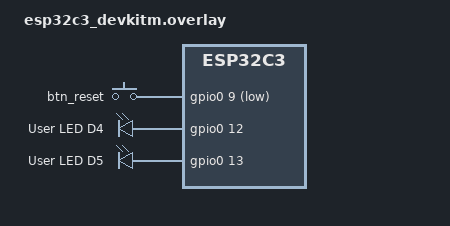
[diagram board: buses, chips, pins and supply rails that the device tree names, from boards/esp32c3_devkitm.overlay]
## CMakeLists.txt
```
cmake_minimum_required(VERSION 3.20.0)

set(ZEPHYR_EXTRA_MODULES ${CMAKE_CURRENT_SOURCE_DIR}/../wolfssl)

if(BOARD MATCHES "esp32")
    list(APPEND EXTRA_CONF_FILE ${CMAKE_CURRENT_SOURCE_DIR}/boards/esp32-common.conf)
endif()

if(BOARD MATCHES "esp32")
    # Patch libnet80211.a at configure time so that our ieee80211_post_hmac_tx()
    # wrapper in esp_wifi_drv.c intercepts all callers.
    string(REGEX MATCH "esp32[a-z0-9]+" _wifi_soc "${BOARD}")
    set(_blob_src
        ${CMAKE_CURRENT_SOURCE_DIR}/../modules/hal/espressif/zephyr/blobs/lib/${_wifi_soc}/libnet80211.a)
    set(_patched_dir ${CMAKE_CURRENT_BINARY_DIR}/patched-blobs)
    set(_patch_script ${CMAKE_CURRENT_SOURCE_DIR}/scripts/patch-net80211-blob.sh)

    if(EXISTS "${_blob_src}")
        execute_process(
            COMMAND sh ${_patch_script} ${_wifi_soc} ${_blob_src} ${_patched_dir}
            RESULT_VARIABLE _patch_result)
        if(NOT _patch_result EQUAL 0)
            message(FATAL_ERROR "Failed to patch ${_blob_src}")
        endif()
    endif()
endif()

find_package(Zephyr REQUIRED HINTS $ENV{ZEPHYR_BASE})
project(vole)

if(BOARD MATCHES "esp32")
    target_link_directories(zephyr_interface BEFORE INTERFACE "${_patched_dir}")
endif()

zephyr_get_include_directories_for_lang(       C includes)
zephyr_get_system_include_directories_for_lang(C system_includes)
zephyr_get_compile_definitions_for_lang(       C definitions)
zephyr_get_compile_options_for_lang(           C options)

if(DEFINED CMAKE_C_COMPILER_TARGET)
    set(target_flag "--target=${CMAKE_C_COMPILER_TARGET}")
endif()

add_library(tomlc17 STATIC ${WEST_TOPDIR}/tomlc17/src/tomlc17.c)
target_compile_options(tomlc17 PRIVATE ${target_flag} ${includes} ${definitions}
    ${options} ${system_includes})
include_directories(${WEST_TOPDIR}/tomlc17/src)

set(app_sources src/main.c src/dtls.c src/crypto.c src/bench.c src/npf.c src/sntp.c
    src/config.c src/status.c src/wifi.c src/aqm.c src/telemetry.c src/wg.c)

if(CONFIG_VOLE_LAN)
    list(APPEND app_sources src/ra.c src/dhcp4.c)
endif()

zephyr_library_include_directories(${WEST_TOPDIR}/wireguard/include)

target_sources(app PRIVATE ${app_sources})
target_compile_options(app PRIVATE -Wall -Wextra)
target_link_libraries(app PUBLIC tomlc17)

zephyr_library_include_directories(${ZEPHYR_BASE}/subsys/net/ip)

if(CONFIG_RISCV)
    set(chacha_S ${CMAKE_CURRENT_BINARY_DIR}/chacha-riscv.S)
    add_custom_command(
        OUTPUT  ${chacha_S}
        COMMAND perl ${WEST_TOPDIR}/cryptogams/riscv/chacha-riscv.pl > ${chacha_S}
        DEPENDS ${WEST_TOPDIR}/cryptogams/riscv/chacha-riscv.pl
        COMMENT "Generating chacha-riscv.S from cryptogams"
    )
    target_sources(app PRIVATE ${chacha_S})
    zephyr_ld_options(-Wl,--wrap=wc_Chacha_Process)
    zephyr_linker_sources(DATA_SECTIONS ldscripts/chacha-riscv-sram.ld)
endif()

zephyr_linker_sources(DATA_SECTIONS ldscripts/sections-tunnel-pool.ld)

if(CONFIG_SOC_SERIES_ESP32S3)
    zephyr_linker_sources(DATA_SECTIONS ldscripts/sections-esp32s3-sram2.ld)
endif()

zephyr_linker_sources(SECTIONS ldscripts/sections-rom.ld)
zephyr_linker_section(
    NAME http_resource_desc_http_service
    KVMA RAM_REGION GROUP RODATA_REGION)

set(gen_dir ${ZEPHYR_BINARY_DIR}/include/generated/)
generate_inc_file_for_target(app www/dist/index.html
    ${gen_dir}/index.html.gz.inc --gzip)
generate_inc_file_for_target(app default.toml ${gen_dir}/default.toml.inc)
```

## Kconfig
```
mainmenu "Vole Tunnel"

config VOLE_LAN
	bool "Enable LAN soft-AP interface (AP+STA router mode)"
	select ESP32_WIFI_AP_STA_MODE
	select NET_IPV6
	select NET_ROUTING

config NET_IF_MAX_IPV4_COUNT
	default 4 if VOLE_LAN
	default 3

config NET_IF_MAX_IPV6_COUNT
	default 4 if VOLE_LAN
	default 3

config NET_IF_MCAST_IPV6_ADDR_COUNT
	default 5 if VOLE_LAN

config VOLE_BENCH
	bool "Run benchmarks at startup"
	select CONFIG_TIMING_FUNCTIONS
	default n

menu "Tunnel"

config DTLS_PKT_COUNT
	int "Packet pool size"
	default 24

endmenu

menu "Active Queue Management"

config CODEL_TARGET_MS
	int "Target sojourn time"
	default 5

config CODEL_INTERVAL_MS
	int "Interval duration"
	default 100

endmenu

source "Kconfig.zephyr"

module = CONFIG
module-str = config
source "subsys/logging/Kconfig.template.log_config"

module = DTLS
module-str = dtls
source "subsys/logging/Kconfig.template.log_config"

module = NPF
module-str = npf
source "subsys/logging/Kconfig.template.log_config"

module = RA
module-str = ra
source "subsys/logging/Kconfig.template.log_config"
```

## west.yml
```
manifest:
  projects:
    - name: zephyr
      url: https://github.com/zephyrproject-rtos/zephyr
      revision: v4.4.0
      import:
        file: west.yml
        name-allowlist:
          - zephyr
          - hal_espressif
          - mbedtls
          - picolibc
          - tf-psa-crypto

    - name: wolfssl
      url: https://github.com/wolfSSL/wolfssl
      revision: v5.9.1-stable

    - name: tomlc17
      url: https://github.com/cktan/tomlc17
      revision: R260414

    - name: cryptogams
      url: https://github.com/dot-asm/cryptogams
      revision: 680f98c1765a7cb89c193db169ed048599f92186
```

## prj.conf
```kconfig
CONFIG_NETWORKING=y
CONFIG_NET_CONFIG_AUTO_INIT=n
CONFIG_NET_IPV4=y
CONFIG_NET_IPV4_PMTU=y
CONFIG_NET_L2_VIRTUAL=y
CONFIG_NET_PKT_FILTER=y

CONFIG_NET_TC_TX_COUNT=1
CONFIG_NET_L2_ETHERNET_RESERVE_HEADER=y
CONFIG_NET_ARP_TABLE_SIZE=4

CONFIG_NET_DHCPV4=y
CONFIG_NET_HOSTNAME_ENABLE=y
CONFIG_NET_HOSTNAME="vole"
CONFIG_NET_TCP=y
CONFIG_NET_MAX_CONN=16
CONFIG_NET_MAX_CONTEXTS=10

CONFIG_MDNS_RESPONDER=y
CONFIG_HTTP_SERVER=y
CONFIG_HTTP_SERVER_VERSION_1=y
CONFIG_HTTP_SERVER_VERSION_2=n
CONFIG_HTTP_SERVER_MAX_CLIENTS=1
CONFIG_HTTP_SERVER_MAX_STREAMS=1
CONFIG_ZVFS_EVENTFD_MAX=2
CONFIG_ZVFS_POLL_MAX=9

CONFIG_SHELL=y
CONFIG_NET_SHELL=y
CONFIG_SYS_HEAP_RUNTIME_STATS=y

CONFIG_FLASH=y
CONFIG_FLASH_MAP=y
CONFIG_NVS=y
CONFIG_SETTINGS=y
CONFIG_SETTINGS_NVS=y
CONFIG_BASE64=y
CONFIG_JSON_LIBRARY=y

CONFIG_GPIO=y
CONFIG_EVENTS=y
CONFIG_REBOOT=y
CONFIG_INPUT=y
CONFIG_INPUT_GPIO_KEYS=y
CONFIG_WATCHDOG=y

CONFIG_LOG=y
CONFIG_LOG_BUFFER_SIZE=2048
CONFIG_LOG_RATELIMIT=y
# CONFIG_LOG_MODE_MINIMAL=y
# CONFIG_LOG_MODE_IMMEDIATE=y

# CONFIG_NET_LOG=y
# CONFIG_NET_ARP_LOG_LEVEL_DBG=y
# CONFIG_NET_BUF_LOG_LEVEL_DBG=y
# CONFIG_NET_CONN_LOG_LEVEL_DBG=y
# CONFIG_NET_CORE_LOG_LEVEL_DBG=y
# CONFIG_NET_CORE_LOG_LEVEL_INF=y
# CONFIG_NET_DEBUG_NET_PKT_ALLOC=y
# CONFIG_NET_DHCPV4_SERVER_LOG_LEVEL_DBG=y
# CONFIG_NET_HTTP_LOG_LEVEL_DBG=y
# CONFIG_NET_HTTP_SERVER_LOG_LEVEL_DBG=y
# CONFIG_NET_ICMPV4_LOG_LEVEL_DBG=y
# CONFIG_NET_ICMPV6_LOG_LEVEL_DBG=y
# CONFIG_NET_IF_LOG_LEVEL_DBG=y
# CONFIG_NET_IF_LOG_LEVEL_INF=y
# CONFIG_NET_IPV4_LOG_LEVEL_DBG=y
# CONFIG_NET_IPV6_LOG_LEVEL_DBG=y
# CONFIG_NET_L2_ETHERNET_LOG_LEVEL_DBG=y
# CONFIG_NET_L2_ETHERNET_LOG_LEVEL_INF=y
# CONFIG_MDNS_RESPONDER_LOG_LEVEL_DBG=y
# CONFIG_NET_MGMT_EVENT_LOG_LEVEL_WRN=y
# CONFIG_NET_PKT_FILTER_LOG_LEVEL_DBG=y
# CONFIG_NET_PKT_LOG_LEVEL_DBG=y
# CONFIG_NET_ROUTE_LOG_LEVEL_DBG=y
# CONFIG_NET_SOCKETS_LOG_LEVEL_DBG=y
# CONFIG_NET_TCP_LOG_LEVEL_DBG=y
# CONFIG_NET_UTILS_LOG_LEVEL_DBG=y
# CONFIG_WIREGUARD_LOG_LEVEL_DBG=y

# CONFIG_WIFI_LOG_LEVEL_DBG=y

# CONFIG_CONFIG_LOG_LEVEL_DBG=y
# CONFIG_DTLS_LOG_LEVEL_DBG=y
# CONFIG_NPF_LOG_LEVEL_DBG=y
# CONFIG_RA_LOG_LEVEL_DBG=y

# CONFIG_NO_OPTIMIZATIONS=y
# CONFIG_DEBUG_OPTIMIZATIONS=y
CONFIG_SPEED_OPTIMIZATIONS=y
# CONFIG_DEBUG=y
CONFIG_ASSERT=y
# CONFIG_ASSERT_VERBOSE=y
# CONFIG_STACK_CANARIES=y
# CONFIG_STACK_SENTINEL=y
# CONFIG_FRAME_POINTER=y
# CONFIG_THREAD_STACK_INFO=y
# CONFIG_SYMTAB=y

CONFIG_MAIN_STACK_SIZE=3072
CONFIG_SYSTEM_WORKQUEUE_STACK_SIZE=3072
CONFIG_NET_RX_STACK_SIZE=3072
CONFIG_NET_TX_STACK_SIZE=3072
# CONFIG_NET_SOCKETS_SERVICE_STACK_SIZE=3072
CONFIG_HTTP_SERVER_STACK_SIZE=4096
CONFIG_NET_MGMT_EVENT_QUEUE_SIZE=6
# CONFIG_NET_MGMT_EVENT_STACK_SIZE=3072

CONFIG_PICOLIBC=y
CONFIG_PICOLIBC_USE_MODULE=y
# For chacha20-poly1305
# CONFIG_COMMON_LIBC_MALLOC_ARENA_SIZE=14336
# For aes128-ccm-8
CONFIG_COMMON_LIBC_MALLOC_ARENA_SIZE=16384

CONFIG_WOLFSSL_SETTINGS_FILE="wolfssl-settings.h"
CONFIG_WOLFSSL=y
CONFIG_WOLFSSL_BUILTIN=n
# CONFIG_WOLFSSL_DEBUG=y

CONFIG_WIREGUARD=y

# CONFIG_VOLE_BENCH=y

# For sojourn time measurement and AQM
CONFIG_NET_PKT_TIMESTAMP=y
# For telemetry
CONFIG_SNTP=y

CONFIG_THREAD_RUNTIME_STATS=y
CONFIG_THREAD_RUNTIME_STACK_SAFETY=y
CONFIG_THREAD_RUNTIME_STACK_SAFETY_DEFAULT_UNUSED_THRESHOLD_PCT=13

CONFIG_THREAD_ANALYZER=y
CONFIG_THREAD_ANALYZER_STACK_SAFETY=y
CONFIG_THREAD_ANALYZER_AUTO=y
CONFIG_THREAD_ANALYZER_AUTO_INTERVAL=900
CONFIG_THREAD_ANALYZER_AUTO_STACK_SIZE=2048
```

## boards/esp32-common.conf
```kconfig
CONFIG_WIFI=y
CONFIG_WIFI_NM=y
CONFIG_WIFI_NM_MAX_MANAGED_INTERFACES=2

CONFIG_ESP32_WIFI_IRAM_OPT=y
CONFIG_ESP32_WIFI_RX_IRAM_OPT=y

CONFIG_WIFI_ESP32=y
CONFIG_ESP32_WIFI_STA_AUTO_DHCPV4=y

# workaround for a bootloop on esp32c6
CONFIG_ESP_HAL_LOG_LEVEL_OFF=y
# CONFIG_ESP_HAL_EARLY_LOG_LEVEL=0

CONFIG_CRYPTO=y
CONFIG_CRYPTO_ESP32_SHA_SESSIONS_MAX=6

CONFIG_DTLS_PKT_COUNT=8
CONFIG_WIREGUARD_BUF_COUNT=8
CONFIG_CODEL_TARGET_MS=4
CONFIG_CODEL_INTERVAL_MS=40
```

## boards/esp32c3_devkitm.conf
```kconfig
CONFIG_FLASH_SIZE=4194304
CONFIG_ESPTOOLPY_FLASHMODE_DIO=y
CONFIG_ESPTOOLPY_FLASHFREQ_80M=y
CONFIG_ESPTOOLPY_FLASHSIZE_4MB=y

CONFIG_ESP32_WIFI_STATIC_RX_BUFFER_NUM=6
CONFIG_ESP32_WIFI_DYNAMIC_RX_BUFFER_NUM=30
CONFIG_ESP32_WIFI_DYNAMIC_TX_BUFFER_NUM=36
CONFIG_HEAP_MEM_POOL_SIZE=106496

CONFIG_ESP32_WIFI_RX_BA_WIN=7
CONFIG_ESP32_WIFI_TX_BA_WIN=7

CONFIG_NET_PKT_RX_COUNT=12
CONFIG_NET_PKT_TX_COUNT=12
CONFIG_NET_BUF_RX_COUNT=12
CONFIG_NET_BUF_TX_COUNT=12
CONFIG_NET_BUF_FIXED_DATA_SIZE=y
CONFIG_NET_BUF_DATA_SIZE=512
```

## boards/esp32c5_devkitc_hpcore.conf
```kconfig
CONFIG_FLASH_SIZE=4194304
CONFIG_ESPTOOLPY_FLASHMODE_QIO=y
CONFIG_ESPTOOLPY_FLASHFREQ_80M=y
CONFIG_ESPTOOLPY_FLASHSIZE_4MB=y

CONFIG_ESP32_WIFI_STATIC_RX_BUFFER_NUM=6
CONFIG_ESP32_WIFI_DYNAMIC_RX_BUFFER_NUM=30
CONFIG_ESP32_WIFI_DYNAMIC_TX_BUFFER_NUM=36
CONFIG_HEAP_MEM_POOL_SIZE=80000

CONFIG_ESP32_WIFI_RX_BA_WIN=7
CONFIG_ESP32_WIFI_TX_BA_WIN=7

CONFIG_NET_PKT_RX_COUNT=12
CONFIG_NET_PKT_TX_COUNT=12
CONFIG_NET_BUF_RX_COUNT=12
CONFIG_NET_BUF_TX_COUNT=12
CONFIG_NET_BUF_FIXED_DATA_SIZE=y
CONFIG_NET_BUF_DATA_SIZE=512
```

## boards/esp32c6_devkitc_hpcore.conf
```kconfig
CONFIG_FLASH_SIZE=4194304
CONFIG_ESPTOOLPY_FLASHMODE_QIO=y
CONFIG_ESPTOOLPY_FLASHFREQ_80M=y
CONFIG_ESPTOOLPY_FLASHSIZE_4MB=y

CONFIG_ESP32_WIFI_STATIC_RX_BUFFER_NUM=6
CONFIG_ESP32_WIFI_DYNAMIC_RX_BUFFER_NUM=44
CONFIG_ESP32_WIFI_DYNAMIC_TX_BUFFER_NUM=50
CONFIG_HEAP_MEM_POOL_SIZE=175000

CONFIG_ESP32_WIFI_RX_BA_WIN=9
CONFIG_ESP32_WIFI_TX_BA_WIN=9

CONFIG_NET_PKT_RX_COUNT=24
CONFIG_NET_PKT_TX_COUNT=24
CONFIG_NET_BUF_RX_COUNT=24
CONFIG_NET_BUF_TX_COUNT=24
CONFIG_NET_BUF_FIXED_DATA_SIZE=y
CONFIG_NET_BUF_DATA_SIZE=512
```

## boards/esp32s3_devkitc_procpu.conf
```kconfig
CONFIG_FLASH_SIZE=8388608
CONFIG_ESPTOOLPY_FLASHMODE_QIO=y
CONFIG_ESPTOOLPY_FLASHFREQ_80M=y
CONFIG_ESPTOOLPY_FLASHSIZE_8MB=y

CONFIG_ESP32_WIFI_STATIC_RX_BUFFER_NUM=6
CONFIG_ESP32_WIFI_DYNAMIC_RX_BUFFER_NUM=40
CONFIG_ESP32_WIFI_DYNAMIC_TX_BUFFER_NUM=46
CONFIG_HEAP_MEM_POOL_SIZE=155648

CONFIG_ESP32_WIFI_RX_BA_WIN=8
CONFIG_ESP32_WIFI_TX_BA_WIN=8

CONFIG_NET_PKT_RX_COUNT=18
CONFIG_NET_PKT_TX_COUNT=18
CONFIG_NET_BUF_RX_COUNT=18
CONFIG_NET_BUF_TX_COUNT=18
CONFIG_NET_BUF_FIXED_DATA_SIZE=y
CONFIG_NET_BUF_DATA_SIZE=512
```

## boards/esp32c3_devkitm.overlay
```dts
#include <zephyr/dt-bindings/input/input-event-codes.h>

/ {
	wifi_ap: wifi_ap {
		compatible = "espressif,esp32-wifi";
		status = "okay";
	};
	aliases {
		led-wan = &led0;
		led-tun = &led1;
		btn-reset = &btn_reset;
	};
	buttons {
		compatible = "gpio-keys";
		debounce-interval-ms = <20>;
		btn_reset: btn_reset {
			gpios = <&gpio0 9 (GPIO_ACTIVE_LOW | GPIO_PULL_UP)>;
			zephyr,code = <INPUT_KEY_0>;
		};
	};
	leds {
		compatible = "gpio-leds";
		led0: led_0 {
			gpios = <&gpio0 12 GPIO_ACTIVE_HIGH>;
			label = "User LED D4";
		};
		led1: led_1 {
			gpios = <&gpio0 13 GPIO_ACTIVE_HIGH>;
			label = "User LED D5";
		};
	};
};
```

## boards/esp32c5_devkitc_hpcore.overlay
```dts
#include <zephyr/dt-bindings/input/input-event-codes.h>

/ {
	chosen {
		zephyr,console = &usb_serial;
		zephyr,shell-uart = &usb_serial;
	};
	wifi_ap: wifi_ap {
		compatible = "espressif,esp32-wifi";
		status = "okay";
	};
	aliases {
		led-wan = &led0;
		led-tun = &led1;
		btn-reset = &btn_reset;
	};
	buttons {
		compatible = "gpio-keys";
		debounce-interval-ms = <20>;
		btn_reset: btn_reset {
			gpios = <&gpio0 9 (GPIO_ACTIVE_LOW | GPIO_PULL_UP)>;
			zephyr,code = <INPUT_KEY_0>;
		};
	};
	leds {
		compatible = "gpio-leds";
		led0: led_0 {
			gpios = <&gpio0 15 GPIO_ACTIVE_HIGH>;
			label = "User LED D15";
		};
		led1: led_1 {
			gpios = <&gpio0 14 GPIO_ACTIVE_HIGH>;
			label = "User LED D14";
		};
	};
};

&usb_serial {
    status = "okay";
};

&flash0 {
    reg = <0x0 DT_SIZE_M(4)>;
};
```

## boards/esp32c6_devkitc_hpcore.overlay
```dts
#include <zephyr/dt-bindings/input/input-event-codes.h>

/ {
    chosen {
        zephyr,console = &usb_serial;
        zephyr,shell-uart = &usb_serial;
    };
	wifi_ap: wifi_ap {
		compatible = "espressif,esp32-wifi";
		status = "okay";
	};
	aliases {
		led-wan = &led0;
		led-tun = &led1;
		btn-reset = &btn_reset;
	};
	buttons {
		compatible = "gpio-keys";
		debounce-interval-ms = <20>;
		btn_reset: btn_reset {
			gpios = <&gpio0 9 (GPIO_ACTIVE_LOW | GPIO_PULL_UP)>;
			zephyr,code = <INPUT_KEY_0>;
		};
	};
	leds {
		compatible = "gpio-leds";
		led0: led_0 {
			gpios = <&gpio0 15 GPIO_ACTIVE_HIGH>;
			label = "User LED D15";
		};
		led1: led_1 {
			gpios = <&gpio0 14 GPIO_ACTIVE_HIGH>;
			label = "User LED D14";
		};
	};
};

&usb_serial {
    status = "okay";
};
```

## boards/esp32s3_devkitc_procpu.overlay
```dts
#include <zephyr/dt-bindings/input/input-event-codes.h>

/ {
    chosen {
        zephyr,console = &usb_serial;
		zephyr,shell-uart = &usb_serial;
    };
	wifi_ap: wifi_ap {
		compatible = "espressif,esp32-wifi";
		status = "okay";
	};
	/* TODO
	cdc_ncm_eth0: cdc_ncm_eth0 {
		compatible = "zephyr,cdc-ncm-ethernet";
		remote-mac-address = "00005E005301";
	};
	*/
	aliases {
		led-wan = &led0;
		led-tun = &led1;
		btn-reset = &btn_reset;
	};
	buttons {
		compatible = "gpio-keys";
		debounce-interval-ms = <20>;
		btn_reset: btn_reset {
			gpios = <&gpio0 0 (GPIO_ACTIVE_LOW | GPIO_PULL_UP)>;
			zephyr,code = <INPUT_KEY_0>;
		};
	};
	leds {
		compatible = "gpio-leds";
		led0: led_0 {
			gpios = <&gpio0 15 GPIO_ACTIVE_HIGH>;
			label = "User LED 15";
		};
		led1: led_1 {
			gpios = <&gpio0 16 GPIO_ACTIVE_HIGH>;
			label = "User LED 16";
		};
	};
};

&usb_serial {
    status = "okay";
};

/* TODO
&psram0 {
	size = <DT_SIZE_M(2)>;
};
*/
```

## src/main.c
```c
#include <string.h>
#include <stdnoreturn.h>

#include <zephyr/logging/log.h>
LOG_MODULE_REGISTER(main, LOG_LEVEL_INF);

#include <zephyr/kernel.h>
#include <zephyr/drivers/gpio.h>
#include <zephyr/drivers/watchdog.h>
#include <zephyr/input/input.h>
#include <zephyr/logging/log_ctrl.h>
#include <zephyr/net/net_if.h>
#include <zephyr/net/virtual.h>
#include <zephyr/sys/math_extras.h>
#include <zephyr/sys/reboot.h>
#include <zephyr/timing/timing.h>
#include <zephyr/debug/thread_analyzer.h>

#include "net_private.h"
#if defined(CONFIG_NET_IPV6)
#include "ipv6.h"
#endif

#include "config.h"
#include "crypto.h"
#include "dtls.h"
#include "npf.h"
#include "status.h"
#include "wg.h"
#include "wifi.h"

static struct net_if *iface_tun;
static struct net_if_addr *tun_if_addr;

#if defined(CONFIG_NET_IPV6)
static struct net_if_addr *tun_if_addr6;
static struct net_if_ipv6_prefix *tun_if_prefix6;
static struct net_if_router *tun_router6;
#endif

static const struct gpio_dt_spec led_wan = GPIO_DT_SPEC_GET(DT_ALIAS(led_wan), gpios);
static const struct gpio_dt_spec led_tun = GPIO_DT_SPEC_GET(DT_ALIAS(led_tun), gpios);
static const struct device *const wdt = DEVICE_DT_GET(DT_ALIAS(watchdog0));

struct crypto_context crypto;
extern void bench();

#define TUN_CONNECT_TIMEOUT K_SECONDS(15)
#define EVENTS_POLL_TIMEOUT K_SECONDS(10)
#define WDT_TIMEOUT_MSECS   60000

static struct net_mgmt_event_callback vpn_mgmt_cb;

static void tun_mgmt_event_handler(struct net_mgmt_event_callback *cb, uint64_t mgmt_event,
				   struct net_if *iface)
{
	ARG_UNUSED(cb);
	switch (mgmt_event) {
	case NET_EVENT_VPN_CONNECTED:
		if (iface == iface_tun) {
			event_post(EVENT_TUN_CONNECTED);
		}
		break;
	case NET_EVENT_VPN_DISCONNECTED:
		if (iface == iface_tun) {
			info.tun_downs += 1;
			event_post(EVENT_TUN_DISCONNECTED);
		}
		break;
	default:
		LOG_ERR("unhandled mgmt event %llu", mgmt_event);
	}
}

static int tun_start(void)
{
#if defined(CONFIG_NET_IPV6)
	struct net_in6_addr prefix6;
	struct net_nbr *nbr;
#endif
	uint32_t events;
	int ret;

	if (!config.tun.configured) {
		return 0;
	}

	if (config.tun.opts.proto == PROTO_DTLS) {
		struct dtls_interface_config cfg = {
			.remote_address = config.tun.endpoint,
			.local_port = config.tun.local_port,
			.psk_base64 = config.tun.opts.u.dtls.psk,
			.keepalive_secs = config.tun.keepalive_secs,
			.mtu = config.tun.mtu,
			.cipher_suite = config.tun.opts.u.dtls.cipher_suite,
		};

		iface_tun = net_if_get_by_index(net_if_get_by_name("dtls0"));
		if (!iface_tun) {
			LOG_ERR("cannot find dtls0 iface");
			return -ENODEV;
		}

		ret = dtls_set_config(iface_tun, &cfg);
		if (ret != 0) {
			LOG_ERR("cannot configure tun iface (%d)", ret);
			return ret;
		}
	} else if (config.tun.opts.proto == PROTO_WIREGUARD) {
		struct wg_interface_config cfg = {
			.awg = config.tun.opts.u.wg.awg,
			.remote_address = config.tun.endpoint,
			.private_key_base64 = config.tun.opts.u.wg.key,
			.public_key_base64 = config.tun.opts.u.wg.pubkey,
			.psk_base64 = NULL,
			.keepalive_secs = config.tun.keepalive_secs,
		};

		iface_tun = net_if_get_by_index(net_if_get_by_name("wg0"));
		if (!iface_tun) {
			LOG_ERR("cannot find wg0 iface");
			return -ENODEV;
		}

		/* wireguard_peer_add()
		 *   net_if_up() on the wg0 interface
		 *     virtual_enable()
		 *       net_if_up() on the wg_ctrl interface
		 *         notify_iface_up() asserts if the link address length is 0
		 * Set a zero link address to satisfy the check.
		 */
		struct net_if *wg_ctrl = net_if_get_by_index(net_if_get_by_name("wg_ctrl"));
		if (!wg_ctrl) {
			LOG_ERR("cannot find wg_ctrl iface");
			return -ENODEV;
		}
		net_if_set_link_addr(wg_ctrl, NULL, NET_LINK_ADDR_MAX_LENGTH, NET_LINK_UNKNOWN);

		ret = wg_set_config(iface_tun, &cfg);
		if (ret != 0) {
			LOG_ERR("cannot configure wireguard iface (%d)", ret);
			return ret;
		}
	}

	tun_if_addr = net_if_ipv4_addr_add(iface_tun, &config.tun.address4.addr, NET_ADDR_MANUAL, 0);
	if (!tun_if_addr) {
		LOG_ERR("cannot add address for tun iface");
		return 1;
	}
	if (!net_if_ipv4_set_netmask_by_addr(iface_tun, &config.tun.address4.addr,
					     netmask_by_prefix(config.tun.address4.prefix))) {
		LOG_ERR("cannot set netmask for tun iface");
		return 1;
	}
	net_if_ipv4_set_gw(iface_tun, &config.tun.peer4);

#if defined(CONFIG_NET_IPV6)
	tun_if_addr6 = net_if_ipv6_addr_add(iface_tun, &config.tun.address6.addr, NET_ADDR_MANUAL, 0);
	if (!tun_if_addr6) {
		LOG_ERR("cannot add ipv6 address for tun interface");
		return 1;
	}

	net_ipv6_addr_prefix_mask(config.tun.address6.addr.s6_addr, prefix6.s6_addr,
				  config.tun.address6.prefix);

	tun_if_prefix6 = net_if_ipv6_prefix_add(iface_tun, &prefix6, config.tun.address6.prefix, ~0U);
	if (!tun_if_prefix6) {
		LOG_ERR("cannot add ipv6 prefix for tun interface");
		return 1;
	}

	nbr = net_ipv6_nbr_add(iface_tun, &config.tun.peer6, net_if_get_link_addr(iface_tun), false,
			       NET_IPV6_NBR_STATE_STATIC);
	if (!nbr) {
		LOG_ERR("cannot add ipv6 neighbor for tun peer");
		return 1;
	}

	tun_router6 = net_if_ipv6_router_add(iface_tun, &config.tun.peer6, true, 0);
	if (!tun_router6) {
		LOG_ERR("cannot add ipv6 default router via tun");
		net_ipv6_nbr_rm(iface_tun, &config.tun.peer6);
		return 1;
	}
#endif

	if (config.tun.opts.proto == PROTO_DTLS) {
		ret = net_virtual_interface_attach(iface_tun, wan_get_iface());
		if (ret != 0) {
			LOG_ERR("cannot attach tun iface to sta: %s (%d)", strerror(-ret), ret);
			return ret;
		}
		ret = net_if_up(iface_tun);
		if (ret != 0) {
			LOG_ERR("cannot set tun iface up: %s (%d)", strerror(-ret), ret);
			return ret;
		}
	} else if (config.tun.opts.proto == PROTO_WIREGUARD) {
		ret = wg_initiate();
		if (ret != 0) {
			LOG_ERR("cannot initiate wireguard handshake (%d)", ret);
			return ret;
		}
	}

	ret = npf_start(lan_get_iface(), wan_get_iface(), iface_tun);
	if (ret != 0) {
		return ret;
	}

	/* TODO EVENT_TUN_CONN_FAILED */
	events = event_consume(EVENT_TUN_CONNECTED, TUN_CONNECT_TIMEOUT);
	if (events == 0) {
		LOG_DBG("no connected event from tun");
		return 1;
	}

	status_set(SUBSYS_TUN, STATUS_ON);
	return 0;
}

static int tun_stop(void)
{
	int ret;

	ret = npf_stop();
	if (ret != 0) {
		LOG_ERR("cannot stop npf");
		return ret;
	}

#if defined(CONFIG_NET_IPV6)
	if (tun_router6) {
		net_if_ipv6_router_rm(tun_router6);
		tun_router6 = NULL;
	}

	if (iface_tun) {
		net_ipv6_nbr_rm(iface_tun, &config.tun.peer6);
	}
#endif

	if (config.tun.opts.proto == PROTO_DTLS && iface_tun) {
		ret = net_if_down(iface_tun);
		if (ret == -EALREADY) {
			LOG_DBG("tun is already stopped");
		} else if (ret != 0) {
			LOG_ERR("cannot set tun iface down (%d)", ret);
			return ret;
		}

		ret = net_virtual_interface_attach(iface_tun, NULL);
		if (ret == -EALREADY) {
			LOG_DBG("tun is already detached");
		} else if (ret != 0) {
			LOG_ERR("cannot detach tun iface from wan (%d)", ret);
			return ret;
		}
	} else if (config.tun.opts.proto == PROTO_WIREGUARD) {
		wg_remove();
	}

#if defined(CONFIG_NET_IPV6)
	if (tun_if_prefix6) {
		if (!net_if_ipv6_prefix_rm(iface_tun, &tun_if_prefix6->prefix,
					   config.tun.address6.prefix)) {
			LOG_ERR("cannot remove ipv6 prefix for tun iface");
			return 1;
		}
		tun_if_prefix6 = NULL;
	}

	if (tun_if_addr6) {
		if (!net_if_ipv6_addr_rm(iface_tun, &tun_if_addr6->address.net_in6_addr)) {
			LOG_ERR("cannot remove ipv6 address for tun iface");
			return 1;
		}
		tun_if_addr6 = NULL;
	}
#endif

	if (tun_if_addr) {
		if (!net_if_ipv4_addr_rm(iface_tun, &tun_if_addr->address.net_in_addr)) {
			LOG_ERR("cannot remove address for tun iface");
			return 1;
		}
		tun_if_addr = NULL;
	}

	iface_tun = NULL;

	status_set(SUBSYS_TUN, STATUS_OFF);
	return 0;
}

static noreturn void fatal(void)
{
	LOG_ERR("fatal condition reached, halting");
	gpio_pin_set_dt(&led_wan, 0);
	gpio_pin_set_dt(&led_tun, 1);
	while (true) {
		gpio_pin_toggle_dt(&led_wan);
		gpio_pin_toggle_dt(&led_tun);
		k_sleep(K_MSEC(250));
	}
}

static int wdt_start(void)
{
	int ret;
	int channel_id;
	struct wdt_timeout_cfg wdt_config = {
		.flags = WDT_FLAG_RESET_SOC,
		.window.max = WDT_TIMEOUT_MSECS,
	};

	ret = wdt_install_timeout(wdt, &wdt_config);
	if (ret < 0) {
		LOG_ERR("cannot start watchdog (%d)", ret);
		return -EINVAL;
	}

	channel_id = ret;

	ret = wdt_setup(wdt, WDT_OPT_PAUSE_HALTED_BY_DBG);
	if (ret < 0) {
		LOG_ERR("cannot set watchdog up (%d)", ret);
		return -EINVAL;
	}

	return channel_id;
}

#if DT_HAS_ALIAS(btn_reset)
#define RESET_HOLD_MS 5000

static void reset_work_handler(struct k_work *work)
{
	ARG_UNUSED(work);
	LOG_WRN("reset button held, resetting config");
	config_reset();
	sys_reboot(SYS_REBOOT_COLD);
}

static K_WORK_DELAYABLE_DEFINE(reset_work, reset_work_handler);

static void reset_button_cb(struct input_event *evt, void *user_data)
{
	ARG_UNUSED(user_data);
	if (evt->type != INPUT_EV_KEY || evt->code != INPUT_KEY_0) {
		return;
	}
	if (evt->value) {
		k_work_schedule(&reset_work, K_MSEC(RESET_HOLD_MS));
	} else {
		k_work_cancel_delayable(&reset_work);
	}
}

INPUT_CALLBACK_DEFINE(NULL, reset_button_cb, NULL);
#endif

static void stack_safety_handler(struct k_thread *thread, size_t unused_space,
				 uint32_t *stack_issue)
{
	LOG_WRN("thread %s unused %zu issue %u", thread->name, unused_space, *stack_issue);
}

extern void aqm_stats_print(void);
extern void aqm_init(uint16_t mtu);

int main(void)
{
	int wdt_channel_id;
	uint32_t events;
	int ret;

	LOG_INF("starting " CONFIG_NET_HOSTNAME " " VERSION_STRING);
	log_flush();

	if (!device_is_ready(wdt)) {
		LOG_ERR("watchdog device isn't ready");
		fatal();
	}
	ret = wdt_disable(wdt);
	if (ret != 0) {
		LOG_ERR("cannot temporarily disable the watchdog (%d)", ret);
		fatal();
	}

	if (!gpio_is_ready_dt(&led_wan) || !gpio_is_ready_dt(&led_tun)) {
		LOG_ERR("gpio port is not ready");
		fatal();
	}
	ret = gpio_pin_configure_dt(&led_wan, GPIO_OUTPUT_ACTIVE);
	if (ret != 0) {
		LOG_ERR("cannot configure sta gpio pin");
		fatal();
	}
	ret = gpio_pin_configure_dt(&led_tun, GPIO_OUTPUT_ACTIVE);
	if (ret != 0) {
		LOG_ERR("cannot configure tun gpio pin");
		fatal();
	}
	gpio_pin_set_dt(&led_wan, 1);
	gpio_pin_set_dt(&led_tun, 1);

	thread_analyzer_stack_safety_handler_set(stack_safety_handler);

	if (crypto_init(&crypto) != 0) {
		LOG_ERR("cannot initialize crypto");
		fatal();
	}

	log_flush();

	bench();

	ret = config_init();
	if (ret != 0) {
		ret = config_reset();
		if (ret != 0) {
			fatal();
		}
		ret = config_init();
		if (ret != 0) {
			fatal();
		}
	}

	aqm_init(NET_ETH_MAX_FRAME_SIZE);

	ret = wifi_init();
	if (ret != 0) {
		fatal();
	}

	net_mgmt_init_event_callback(&vpn_mgmt_cb, tun_mgmt_event_handler,
				     NET_EVENT_VPN_CONNECTED | NET_EVENT_VPN_DISCONNECTED);
	net_mgmt_add_event_callback(&vpn_mgmt_cb);

	status_set(SUBSYS_LAN, STATUS_OFF);
	status_set(SUBSYS_WAN, STATUS_OFF);
	status_set(SUBSYS_TUN, STATUS_OFF);
	event_post(EVENT_CONF_LAN);

	wdt_channel_id = wdt_start();
	if (wdt_channel_id < 0) {
		LOG_ERR("cannot start the watchdog");
	}

	while (true) {
		events = EVENT_CONF_LAN | EVENT_CONF_WAN | EVENT_CONF_TUN | EVENT_WAN_DISCONNECTED |
			 EVENT_TUN_DISCONNECTED;
		events = event_consume(events, EVENTS_POLL_TIMEOUT);

#if 0
		extern void sojourn_print(void);
		sojourn_print();
		aqm_stats_print();
#endif

		if (wdt_channel_id >= 0) {
			ret = wdt_feed(wdt, wdt_channel_id);
			if (ret != 0) {
				LOG_ERR("cannot feed the watchdog");
			}
		}

		if (events & EVENT_CONF_LAN) {
			/* let http server finish to respond */
			k_sleep(K_SECONDS(1));

			tun_stop();
			gpio_pin_set_dt(&led_tun, 1);
			wan_stop();
			gpio_pin_set_dt(&led_wan, 1);
			lan_stop();
			config_apply();
			if (wan_preconfigure() == 0 && lan_start() == 0) {
				if (wan_start() == 0) {
					gpio_pin_set_dt(&led_wan, 0);
					if (tun_start() == 0) {
						gpio_pin_set_dt(&led_tun, 0);
					}
				}
			}
		} else if ((events & EVENT_CONF_WAN) || (events & EVENT_WAN_DISCONNECTED) ||
			   status_get(SUBSYS_WAN) != STATUS_ON) {
			tun_stop();
			gpio_pin_set_dt(&led_tun, 1);
			wan_stop();
			gpio_pin_set_dt(&led_wan, 1);
			config_apply();
			if (wan_start() == 0) {
				gpio_pin_set_dt(&led_wan, 0);
				if (tun_start() == 0) {
					gpio_pin_set_dt(&led_tun, 0);
				}
			}
		} else if ((events & EVENT_CONF_TUN) || (events & EVENT_TUN_DISCONNECTED) ||
			   status_get(SUBSYS_TUN) != STATUS_ON) {
			tun_stop();
			gpio_pin_set_dt(&led_tun, 1);
			config_apply();
			if (tun_start() == 0) {
				gpio_pin_set_dt(&led_tun, 0);
			}
		}
	}

	LOG_ERR("unreachable");
	return 0;
}
```

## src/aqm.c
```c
/*
 * Codel - The Controlled-Delay Active Queue Management algorithm
 *
 *  Copyright (C) 2011-2012 Kathleen Nichols <nichols@pollere.com>
 *  Copyright (C) 2011-2012 Van Jacobson <van@pollere.net>
 *  Copyright (C) 2012 Michael D. Taht <dave.taht@bufferbloat.net>
 *  Copyright (C) 2012,2015 Eric Dumazet <edumazet@google.com>
 *
 * Redistribution and use in source and binary forms, with or without
 * modification, are permitted provided that the following conditions
 * are met:
 * 1. Redistributions of source code must retain the above copyright
 *    notice, this list of conditions, and the following disclaimer,
 *    without modification.
 * 2. Redistributions in binary form must reproduce the above copyright
 *    notice, this list of conditions and the following disclaimer in the
 *    documentation and/or other materials provided with the distribution.
 * 3. The names of the authors may not be used to endorse or promote products
 *    derived from this software without specific prior written permission.
 *
 * Alternatively, provided that this notice is retained in full, this
 * software may be distributed under the terms of the GNU General
 * Public License ("GPL") version 2, in which case the provisions of the
 * GPL apply INSTEAD OF those given above.
 *
 * THIS SOFTWARE IS PROVIDED BY THE COPYRIGHT HOLDERS AND CONTRIBUTORS
 * "AS IS" AND ANY EXPRESS OR IMPLIED WARRANTIES, INCLUDING, BUT NOT
 * LIMITED TO, THE IMPLIED WARRANTIES OF MERCHANTABILITY AND FITNESS FOR
 * A PARTICULAR PURPOSE ARE DISCLAIMED. IN NO EVENT SHALL THE COPYRIGHT
 * OWNER OR CONTRIBUTORS BE LIABLE FOR ANY DIRECT, INDIRECT, INCIDENTAL,
 * SPECIAL, EXEMPLARY, OR CONSEQUENTIAL DAMAGES (INCLUDING, BUT NOT
 * LIMITED TO, PROCUREMENT OF SUBSTITUTE GOODS OR SERVICES; LOSS OF USE,
 * DATA, OR PROFITS; OR BUSINESS INTERRUPTION) HOWEVER CAUSED AND ON ANY
 * THEORY OF LIABILITY, WHETHER IN CONTRACT, STRICT LIABILITY, OR TORT
 * (INCLUDING NEGLIGENCE OR OTHERWISE) ARISING IN ANY WAY OUT OF THE USE
 * OF THIS SOFTWARE, EVEN IF ADVISED OF THE POSSIBILITY OF SUCH
 * DAMAGE.
 *
 */

/* Controlling Queue Delay (CoDel) algorithm
 * =========================================
 * Source : Kathleen Nichols and Van Jacobson
 * http://queue.acm.org/detail.cfm?id=2209336
 *
 * Implemented on linux by Dave Taht and Eric Dumazet
 */

#include <stdint.h>
#include <zephyr/logging/log.h>
LOG_MODULE_REGISTER(codel, LOG_LEVEL_INF);

#include <zephyr/kernel.h>
#include <zephyr/net/net_pkt.h>

#include "aqm.h"
#include "wifi.h"

static inline codel_time_t pkt_time(struct net_pkt *pkt);
static inline struct net_pkt *pkt_dequeue(struct codel_vars *vars, void *ctx, k_timeout_t timeout);

static void codel_params_init(struct codel_params *params)
{
	params->interval = MS2TIME(100);
	params->target = MS2TIME(5);
}

static void codel_vars_init(struct codel_vars *vars)
{
	memset(vars, 0, sizeof(*vars));
}

static void codel_stats_init(struct codel_stats *stats)
{
	stats->maxpacket = 0;
}

/*
 * http://en.wikipedia.org/wiki/Methods_of_computing_square_roots#Iterative_methods_for_reciprocal_square_roots
 * new_invsqrt = (invsqrt / 2) * (3 - count * invsqrt^2)
 *
 * Here, invsqrt is a fixed point number (< 1.0), 32bit mantissa, aka Q0.32
 */
static void codel_Newton_step(struct codel_vars *vars)
{
	uint32_t invsqrt = ((uint32_t)vars->rec_inv_sqrt) << REC_INV_SQRT_SHIFT;
	uint32_t invsqrt2 = ((uint64_t)invsqrt * invsqrt) >> 32;
	uint64_t val = (3LL << 32) - ((uint64_t)vars->count * invsqrt2);

	val >>= 2; /* avoid overflow in following multiply */
	val = (val * invsqrt) >> (32 - 2 + 1);

	vars->rec_inv_sqrt = val >> REC_INV_SQRT_SHIFT;
}

/*
 * CoDel control_law is t + interval/sqrt(count)
 * We maintain in rec_inv_sqrt the reciprocal value of sqrt(count) to avoid
 * both sqrt() and divide operation.
 */
static codel_time_t codel_control_law(codel_time_t t,
				      codel_time_t interval,
				      uint32_t rec_inv_sqrt)
{
	return t + reciprocal_scale(interval, rec_inv_sqrt << REC_INV_SQRT_SHIFT);
}

static bool codel_should_drop(struct net_pkt *pkt, struct codel_vars *vars,
			      struct codel_params *params, struct codel_stats *stats,
			      uint32_t backlog, codel_time_t now)
{
	bool ok_to_drop;
	uint32_t pkt_len;

	if (!pkt) {
		vars->first_above_time = 0;
		return false;
	}

	pkt_len = net_pkt_get_len(pkt);
	vars->ldelay = now - pkt_time(pkt);

	if (unlikely(pkt_len > stats->maxpacket)) {
		stats->maxpacket = pkt_len;
	}

	if (codel_time_before(vars->ldelay, params->target) || backlog <= params->mtu) {
		/* went below - stay below for at least interval */
		vars->first_above_time = 0;
		return false;
	}
	ok_to_drop = false;
	if (vars->first_above_time == 0) {
		/* just went above from below. If we stay above
		 * for at least interval we'll say it's ok to drop
		 */
		vars->first_above_time = now + params->interval;
	} else if (codel_time_after(now, vars->first_above_time)) {
		ok_to_drop = true;
	}
	return ok_to_drop;
}

static struct net_pkt *codel_dequeue(void *ctx, uint32_t backlog, struct codel_params *params,
				     struct codel_vars *vars, struct codel_stats *stats)
{
	struct net_pkt *pkt = pkt_dequeue(vars, ctx, K_FOREVER);
	codel_time_t now;
	bool drop;

	if (!pkt) {
		vars->dropping = false;
		return pkt;
	}
	now = codel_get_time();
	drop = codel_should_drop(pkt, vars, params, stats, backlog, now);
	if (vars->dropping) {
		if (!drop) {
			/* sojourn time below target - leave dropping state */
			vars->dropping = false;
		} else if (codel_time_after_eq(now, vars->drop_next)) {
			/* It's time for the next drop. Drop the current
			 * packet and dequeue the next. The dequeue might
			 * take us out of dropping state.
			 * If not, schedule the next drop.
			 * A large backlog might result in drop rates so high
			 * that the next drop should happen now,
			 * hence the while loop.
			 */
			while (vars->dropping &&
			       codel_time_after_eq(now, vars->drop_next)) {
				vars->count++; /* dont care of possible wrap
						* since there is no more divide
						*/
				codel_Newton_step(vars);

				stats->drop_len += net_pkt_get_len(pkt);
				net_pkt_unref(pkt);
				stats->drop_count++;
				pkt = pkt_dequeue(vars, ctx, K_NO_WAIT);
				if (!codel_should_drop(pkt, vars, params, stats, backlog, now)) {
					/* leave dropping state */
					vars->dropping = false;
				} else {
					/* and schedule the next drop */
					vars->drop_next =
						codel_control_law(vars->drop_next, params->interval,
								  vars->rec_inv_sqrt);
				}
			}
		}
	} else if (drop) {
		uint32_t delta;

		stats->drop_len += net_pkt_get_len(pkt);
		net_pkt_unref(pkt);
		stats->drop_count++;

		pkt = pkt_dequeue(vars, ctx, K_NO_WAIT);
		drop = codel_should_drop(pkt, vars, params, stats, backlog, now);

		vars->dropping = true;
		/* if min went above target close to when we last went below it
		 * assume that the drop rate that controlled the queue on the
		 * last cycle is a good starting point to control it now.
		 */
		delta = vars->count - vars->lastcount;
		if (delta > 1 && codel_time_before(now - vars->drop_next, 16 * params->interval)) {
			vars->count = delta;
			/* we dont care if rec_inv_sqrt approximation
			 * is not very precise :
			 * Next Newton steps will correct it quadratically.
			 */
			codel_Newton_step(vars);
		} else {
			vars->count = 1;
			vars->rec_inv_sqrt = ~0U >> REC_INV_SQRT_SHIFT;
		}
		vars->lastcount = vars->count;
		vars->drop_next = codel_control_law(now, params->interval, vars->rec_inv_sqrt);
	}

	return pkt;
}



static atomic_t backlog;
static uint32_t max_backlog;
static struct codel_params params;
static struct codel_vars vars;
static struct codel_stats stats;
static uint32_t sta_sojourn_ewma_ns;
static uint32_t sta_inflight_total;
static uint32_t sta_aql_limit;

static inline codel_time_t pkt_time(struct net_pkt *pkt)
{
	return net_pkt_timestamp_ns(pkt) >> CODEL_SHIFT;
}

static inline struct net_pkt *pkt_dequeue(struct codel_vars *vars, void *ctx, k_timeout_t timeout)
{
	ARG_UNUSED(vars);
	struct k_fifo *fifo = ctx;
	struct net_pkt *pkt = k_fifo_get(fifo, timeout);
	if (pkt) {
		size_t len = net_pkt_get_len(pkt);
		size_t prev = atomic_sub(&backlog, len);
		if (prev < len) {
			LOG_ERR("backlog underflow");
			atomic_set(&backlog, 0);
		}
	}
	return pkt;
}

/* Called from net_tc_try_submit_to_tx_queue() at zephyr/subsys/net/ip/net_tc.c */
void aqm_backlog(size_t size)
{
	atomic_add(&backlog, size);
	size_t cur_backlog = atomic_get(&backlog);
	if (max_backlog < cur_backlog) {
		max_backlog = cur_backlog;
	}
}

void aqm_init(uint16_t mtu)
{
	codel_params_init(&params);
	params.target = MS2TIME(CONFIG_CODEL_TARGET_MS);
	params.interval = MS2TIME(CONFIG_CODEL_INTERVAL_MS);
	params.mtu = mtu;

	codel_vars_init(&vars);
	codel_stats_init(&stats);
}

void aqm_stats_print(void)
{
	printk("tx_q max backlog %u\n", max_backlog);
	printk("codel max_packet %u\n", stats.maxpacket);
	printk("codel drop count %u\n", stats.drop_count);
	printk("codel drop bytes %u\n", stats.drop_len);
	printk("sta inflight %u aql_limit %u sojourn_ewma %u ns\n",
	       sta_inflight_total, sta_aql_limit, sta_sojourn_ewma_ns);
}

void aqm_stats_get(struct aqm_stats *aqm_stats)
{
	aqm_stats->codel_stats = &stats;
	aqm_stats->backlog = atomic_get(&backlog);
}

/* Called from zephyr/drivers/wifi/esp32/src/esp_wifi_drv.c */
void esp_wifi_tx_aql_cb(int ifx, uint32_t sojourn_ewma_ns, uint32_t inflight_total,
			uint32_t aql_limit)
{
	if (ifx == 0) { /* WIFI_IF_STA */
		sta_sojourn_ewma_ns = sojourn_ewma_ns;
		sta_inflight_total = inflight_total;
		sta_aql_limit = aql_limit;
	}
}

/* Called from tc_tx_handler() at zephyr/subsys/net/ip/net_tc.c */
struct net_pkt *aqm_dequeue(struct k_fifo *fifo)
{
	codel_time_t wifi_delay = (codel_time_t)(sta_sojourn_ewma_ns >> CODEL_SHIFT);
	struct codel_params p = params;

	p.target = (p.target > wifi_delay + MS2TIME(1))
		   ? p.target - wifi_delay
		   : MS2TIME(1);

	struct net_pkt *pkt = codel_dequeue(fifo, atomic_get(&backlog), &p, &vars, &stats);

	if (pkt && sta_aql_limit > 0 &&
	    sta_inflight_total + net_pkt_get_len(pkt) > sta_aql_limit) {
		stats.drop_len += net_pkt_get_len(pkt);
		stats.drop_count++;
		net_pkt_unref(pkt);
		return NULL;
	}

	return pkt;
}



static atomic_t sojourn_hist_sta[SOJOURN_HIST_SIZE];
static atomic_t sojourn_hist_sap[SOJOURN_HIST_SIZE];

static inline net_time_t sojourn_calc(struct net_pkt *pkt)
{
	net_time_t rx_timestamp = net_pkt_timestamp_ns(pkt);
	if (rx_timestamp > 0) {
		net_time_t tx_timestamp = get_time_ns();
		net_time_t sojourn_us = (tx_timestamp - rx_timestamp) / 1000;
		return sojourn_us;
	}
	return 0;
}

static inline void sojourn_hist_update(atomic_t *hist, net_time_t sojourn_us)
{
	size_t bin = MIN(LOG2CEIL(sojourn_us / 100), SOJOURN_HIST_SIZE - 1);
	atomic_val_t prev = atomic_inc(&hist[bin]);
	if (prev == UINT16_MAX) {
		atomic_set(&hist[bin], UINT16_MAX);
	}
}

atomic_t *sojourn_hist_get(struct net_if *iface)
{
	if (iface == wan_get_iface()) {
		return sojourn_hist_sta;
	} else if (iface == lan_get_iface()) {
		return sojourn_hist_sap;
	} else {
		return NULL;
	}
}

void sojourn_hist_reset(void)
{
	for (size_t i = 0; i < SOJOURN_HIST_SIZE; ++i) {
		atomic_set(&sojourn_hist_sta[i], 0);
		atomic_set(&sojourn_hist_sap[i], 0);
	}
}

/* Called from zephyr/drivers/wifi/esp32/src/esp_wifi_drv.c */
void esp_wifi_rx_cb(struct net_pkt *pkt)
{
	net_time_t rx_timestamp = get_time_ns();
	net_pkt_set_timestamp_ns(pkt, rx_timestamp);
}

/* Called from zephyr/drivers/wifi/esp32/src/esp_wifi_drv.c */
void esp_wifi_tx_cb(struct net_pkt *pkt)
{
	net_time_t sojourn_us = sojourn_calc(pkt);
	if (sojourn_us > 0) {
		atomic_t *hist = sojourn_hist_get(net_pkt_iface(pkt));
		if (hist) {
			sojourn_hist_update(hist, sojourn_us);
		}
	}
}

static void sojourn_hist_print(atomic_t *hist)
{
	printk("| millis |    count |\n");
	printk("+--------+----------+\n");
	for (size_t bin = 0; bin < SOJOURN_HIST_SIZE - 1; ++bin) {
		atomic_val_t count = atomic_get(&hist[bin]);
		size_t bound_10th_ms = 1U << bin;
		printk("| %4zu.%zu | %8ld |\n", bound_10th_ms / 10, bound_10th_ms % 10, count);
	}
	printk("|   tail | %8ld |\n", atomic_get(&hist[SOJOURN_HIST_SIZE - 1]));
	printk("+--------+----------+\n");
}

void sojourn_print(void)
{
	atomic_t *hist_wan = sojourn_hist_get(wan_get_iface());
	printk("+------ STA --------+\n");
	sojourn_hist_print(hist_wan);

#if defined(CONFIG_ESP32_WIFI_AP_STA_MODE)
	atomic_t *hist_lan = sojourn_hist_get(lan_get_iface());
	printk("+------ SAP --------+\n");
	sojourn_hist_print(hist_lan);
#endif
}
```

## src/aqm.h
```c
/*
 * Codel - The Controlled-Delay Active Queue Management algorithm
 *
 *  Copyright (C) 2011-2012 Kathleen Nichols <nichols@pollere.com>
 *  Copyright (C) 2011-2012 Van Jacobson <van@pollere.net>
 *  Copyright (C) 2012 Michael D. Taht <dave.taht@bufferbloat.net>
 *  Copyright (C) 2012,2015 Eric Dumazet <edumazet@google.com>
 *
 * Redistribution and use in source and binary forms, with or without
 * modification, are permitted provided that the following conditions
 * are met:
 * 1. Redistributions of source code must retain the above copyright
 *    notice, this list of conditions, and the following disclaimer,
 *    without modification.
 * 2. Redistributions in binary form must reproduce the above copyright
 *    notice, this list of conditions and the following disclaimer in the
 *    documentation and/or other materials provided with the distribution.
 * 3. The names of the authors may not be used to endorse or promote products
 *    derived from this software without specific prior written permission.
 *
 * Alternatively, provided that this notice is retained in full, this
 * software may be distributed under the terms of the GNU General
 * Public License ("GPL") version 2, in which case the provisions of the
 * GPL apply INSTEAD OF those given above.
 *
 * THIS SOFTWARE IS PROVIDED BY THE COPYRIGHT HOLDERS AND CONTRIBUTORS
 * "AS IS" AND ANY EXPRESS OR IMPLIED WARRANTIES, INCLUDING, BUT NOT
 * LIMITED TO, THE IMPLIED WARRANTIES OF MERCHANTABILITY AND FITNESS FOR
 * A PARTICULAR PURPOSE ARE DISCLAIMED. IN NO EVENT SHALL THE COPYRIGHT
 * OWNER OR CONTRIBUTORS BE LIABLE FOR ANY DIRECT, INDIRECT, INCIDENTAL,
 * SPECIAL, EXEMPLARY, OR CONSEQUENTIAL DAMAGES (INCLUDING, BUT NOT
 * LIMITED TO, PROCUREMENT OF SUBSTITUTE GOODS OR SERVICES; LOSS OF USE,
 * DATA, OR PROFITS; OR BUSINESS INTERRUPTION) HOWEVER CAUSED AND ON ANY
 * THEORY OF LIABILITY, WHETHER IN CONTRACT, STRICT LIABILITY, OR TORT
 * (INCLUDING NEGLIGENCE OR OTHERWISE) ARISING IN ANY WAY OUT OF THE USE
 * OF THIS SOFTWARE, EVEN IF ADVISED OF THE POSSIBILITY OF SUCH
 * DAMAGE.
 *
 */

/* Controlling Queue Delay (CoDel) algorithm
 * =========================================
 * Source : Kathleen Nichols and Van Jacobson
 * http://queue.acm.org/detail.cfm?id=2209336
 *
 * Implemented on linux by Dave Taht and Eric Dumazet
 */

#ifndef _AQM_H_
#define _AQM_H_

#include <stdint.h>
#include <zephyr/kernel.h>
#include <zephyr/net/net_if.h>
#include <zephyr/net/net_time.h>

static inline uint32_t reciprocal_scale(uint32_t val, uint32_t ep_ro)
{
	return ((uint64_t)val * ep_ro) >> 32;
}

/* CoDel uses a 1024 nsec clock, encoded in u32
 * This gives a range of 2199 seconds, because of signed compares
 */
typedef uint32_t codel_time_t;
typedef int32_t codel_tdiff_t;
#define CODEL_SHIFT 10
#define MS2TIME(a) ((a * NSEC_PER_MSEC) >> CODEL_SHIFT)

static inline net_time_t get_time_ns(void)
{
#if defined(CONFIG_TIMER_HAS_64BIT_CYCLE_COUNTER)
	return k_cyc_to_ns_floor64(k_cycle_get_64());
#else
	return k_cyc_to_ns_floor64(k_cycle_get_32());
#endif
}

static inline codel_time_t codel_get_time(void)
{
	return get_time_ns() >> CODEL_SHIFT;
}

/* Dealing with timer wrapping, according to RFC 1982, as desc in wikipedia:
 *  https://en.wikipedia.org/wiki/Serial_number_arithmetic#General_Solution
 * codel_time_after(a,b) returns true if the time a is after time b.
 */
#define codel_time_after(a, b)  ((int32_t)((a) - (b)) > 0)
#define codel_time_before(a, b) codel_time_after(b, a)

#define codel_time_after_eq(a, b)  ((int32_t)((a) - (b)) >= 0)
#define codel_time_before_eq(a, b) codel_time_after_eq(b, a)

/**
 * struct codel_params - contains codel parameters
 * @target:	target queue size (in time units)
 * @ce_threshold:  threshold for marking packets with ECN CE
 * @interval:	width of moving time window
 * @mtu:	device mtu, or minimal queue backlog in bytes.
 * @ecn:	is Explicit Congestion Notification enabled
 * @ce_threshold_selector: apply ce_threshold to packets matching this value
 *                         in the diffserv/ECN byte of the IP header
 * @ce_threshold_mask: mask to apply to ce_threshold_selector comparison
 */
struct codel_params {
	codel_time_t target;
	codel_time_t interval;
	uint32_t mtu;
};

/**
 * struct codel_vars - contains codel variables
 * @count:		how many drops we've done since the last time we
 *			entered dropping state
 * @lastcount:		count at entry to dropping state
 * @dropping:		set to true if in dropping state
 * @rec_inv_sqrt:	reciprocal value of sqrt(count) >> 1
 * @first_above_time:	when we went (or will go) continuously above target
 *			for interval
 * @drop_next:		time to drop next packet, or when we dropped last
 * @ldelay:		sojourn time of last dequeued packet
 */
struct codel_vars {
	uint32_t count;
	uint32_t lastcount;
	bool dropping;
	uint16_t rec_inv_sqrt;
	codel_time_t first_above_time;
	codel_time_t drop_next;
	codel_time_t ldelay;
};

#define REC_INV_SQRT_BITS (8 * sizeof(uint16_t)) /* or sizeof_in_bits(rec_inv_sqrt) */
/* needed shift to get a Q0.32 number from rec_inv_sqrt */
#define REC_INV_SQRT_SHIFT (32 - REC_INV_SQRT_BITS)

/**
 * struct codel_stats - contains codel shared variables and stats
 * @maxpacket:	largest packet we've seen so far
 * @drop_count:	temp count of dropped packets in dequeue()
 * @drop_len:	bytes of dropped packets in dequeue()
 */
struct codel_stats {
	uint32_t maxpacket;
	uint32_t drop_count;
	uint32_t drop_len;
};

struct aqm_stats {
	struct codel_stats *codel_stats;
	size_t backlog;
};

void aqm_stats_get(struct aqm_stats *aqm_stats);

#define SOJOURN_HIST_SIZE 13

atomic_t *sojourn_hist_get(struct net_if *iface);
void sojourn_print(void);
void sojourn_hist_reset(void);

#endif
```

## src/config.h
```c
#ifndef _CONFIG_H_
#define _CONFIG_H_

#include <stdint.h>
#include <zephyr/app_version.h>
#include <zephyr/net/net_ip.h>
#include <zephyr/net/wifi.h>
#include <zephyr/net/wireguard.h>
#include <zephyr/sys/util_macro.h>

#define VERSION_STRING "v" APP_VERSION_STRING "-" STRINGIFY(APP_BUILD_VERSION)

#define MAX_DNS_ADDRESSES 2

struct cidr4_addr {
	struct net_in_addr addr;
	uint8_t prefix;
};

struct cidr6_addr {
	struct net_in6_addr addr;
	uint8_t prefix;
};

struct config_lan {
	char ssid[33];
	char psk[64];
	struct cidr6_addr address6;
	size_t dns6_num;
	struct net_in6_addr dns6[MAX_DNS_ADDRESSES];
};

struct config_wan {
	bool configured;
	char ssid[33];
	char psk[64];
	uint8_t hwaddr[WIFI_MAC_ADDR_LEN];
	bool hwaddr_set;
	bool http;
};

struct config_tun_options {
	enum {
		PROTO_UNKNOWN = 0,
		PROTO_DTLS,
		PROTO_WIREGUARD,
	} proto;
	union {
		struct {
			char cipher_suite[48];
			char psk[64];
		} dtls;
		struct {
			char key[45];
			char pubkey[45];
			struct wireguard_amnezia_params awg;
		} wg;
	} u;
};

struct config_tun {
	bool configured;
	struct net_sockaddr_in endpoint;
	uint16_t local_port; /* Host byte order */
	struct cidr4_addr address4;
	struct net_in_addr peer4;
	size_t keepalive_secs;
	uint16_t mtu;
	struct config_tun_options opts;
#if defined(CONFIG_NET_IPV6)
	struct cidr6_addr address6;
	struct net_in6_addr peer6;
#endif
};

struct config {
	struct config_lan lan;
	struct config_wan wan;
	struct config_tun tun;
};

extern struct config config;

const struct net_in_addr *netmask_by_prefix(uint8_t prefix);

int config_init();
int config_reset();
int config_save();
void config_apply(void);

#endif
```

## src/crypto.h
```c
#ifndef _CRYPTO_H_
#define _CRYPTO_H_

#include <zephyr/device.h>
#include <zephyr/crypto/crypto.h>

#include <wolfssl/wolfcrypt/cryptocb.h>

#define ZEPHYR_DEVID 0

struct crypto_context {
	const struct device *crypto_aes;
	uint32_t crypto_aes_caps;

	const struct device *crypto_sha;
	uint32_t crypto_sha_caps;

	struct hash_ctx hctx[CONFIG_CRYPTO_ESP32_SHA_SESSIONS_MAX];

	size_t sha_bytes_processed;
	size_t sha_bytes_fallback;
};

int crypto_init(struct crypto_context *ctx);

#endif
```

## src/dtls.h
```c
#ifndef _DTLS_H_
#define _DTLS_H_

#include <zephyr/net/net_ip.h>
#include <zephyr/net/net_pkt.h>
#include <zephyr/sys/clock.h>

struct proto {
	const char *cipher_suite;
	uint8_t dtls_overhead;
};

struct dtls_interface_config {
	struct net_sockaddr_in remote_address;
	uint16_t local_port; /* Host byte order */
	const char *psk_base64;
	size_t keepalive_secs;
	uint16_t mtu;
	const char *cipher_suite;
};

struct dtls_stats {
	size_t sent_packets;
	size_t sent_orig_bytes;
	size_t sent_bytes;
	size_t rcvd_packets;
	size_t rcvd_orig_bytes;
	size_t rcvd_bytes;

	size_t allocs_failed;
	size_t pkt_pool_hwm;
	size_t early_drops;

	const char *version;
	const char *curve_name;
	const char *cipher_suite;

	size_t rtt_us;
};

const struct proto *find_cipher_suite(const char *cipher_suite);
int dtls_set_config(struct net_if *iface, const struct dtls_interface_config *config);
struct dtls_stats *dtls_stats(void);

#endif
```

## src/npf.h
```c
#ifndef _NPF_H_
#define _NPF_H_

#include <zephyr/net/net_if.h>
#include <zephyr/net/net_pkt.h>
#include <zephyr/net/net_ip.h>

int npf_start(struct net_if *iface_lan, struct net_if *iface_wan, struct net_if *iface_tun);
int npf_stop(void);
void clamp_mss(struct net_pkt *pkt, uint16_t max_mss);

static inline uint16_t ipv4_chksum_ttl_dec(uint16_t chksum_net)
{
	uint32_t chksum = net_ntohs(chksum_net);
	chksum += 0x0100;
	chksum = (chksum & 0xffff) + (chksum >> 16);
	return net_htons(chksum);
}

#endif
```
